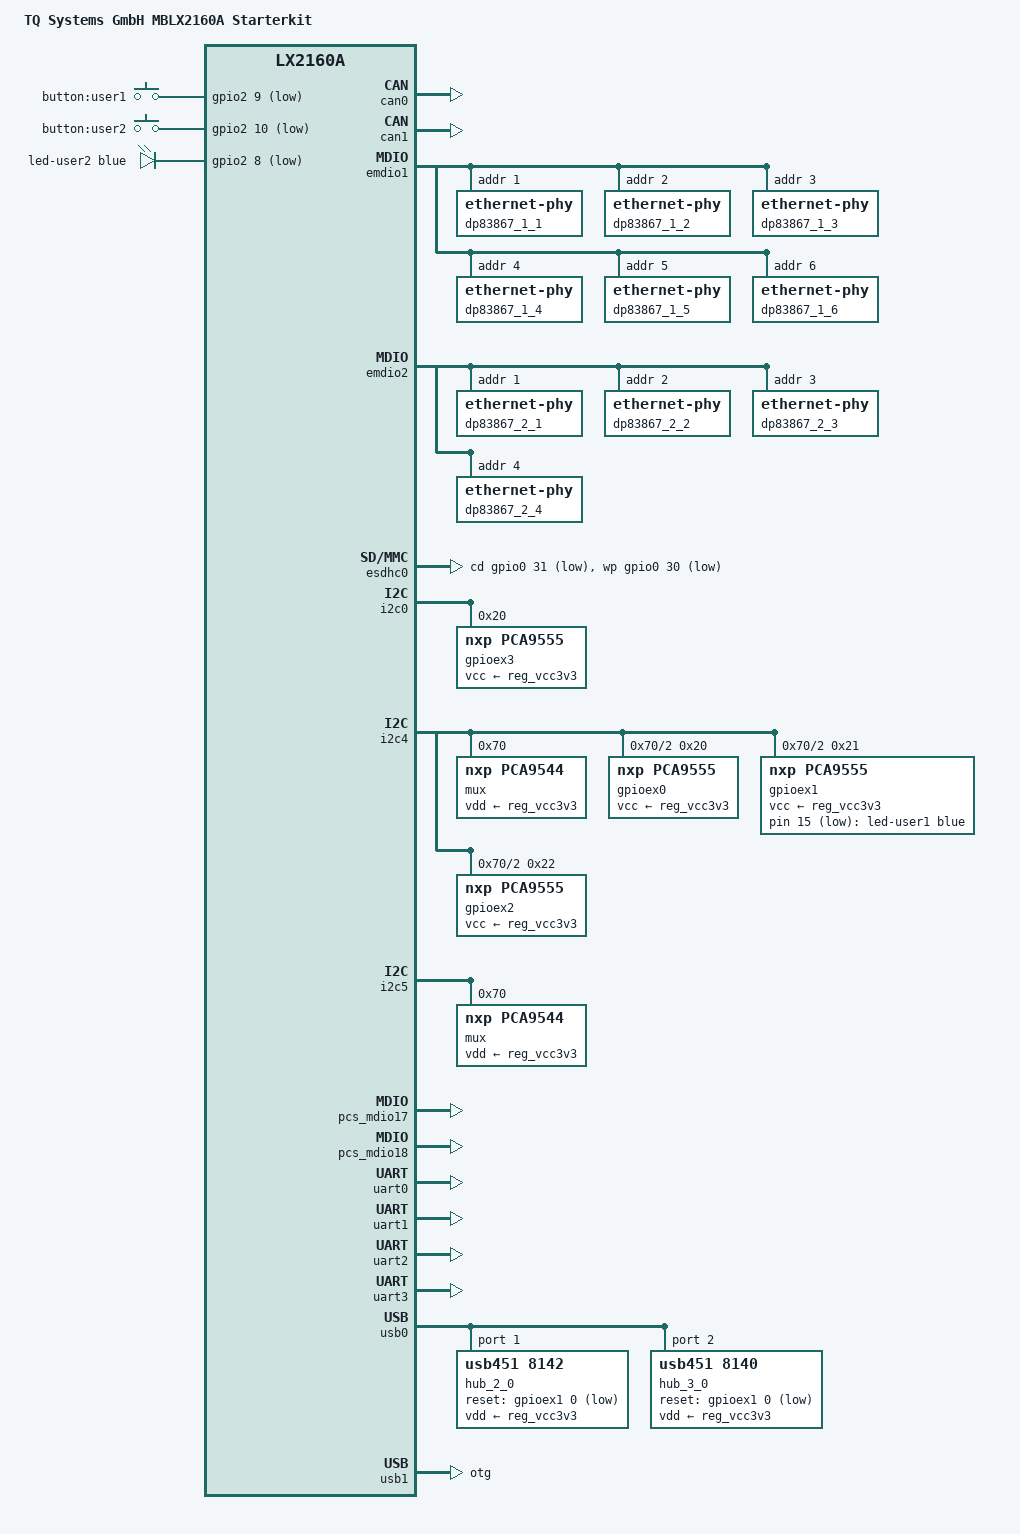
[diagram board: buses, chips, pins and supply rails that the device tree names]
// SPDX-License-Identifier: GPL-2.0-or-later OR MIT
/*
 * Copyright (c) 2020-2023 TQ-Systems GmbH <linux@ew.tq-group.com>,
 * D-82229 Seefeld, Germany.
 * Author: Gregor Herburger
 */

/dts-v1/;

#include <dt-bindings/input/input.h>
#include <dt-bindings/leds/common.h>
#include <dt-bindings/net/ti-dp83867.h>

#include "fsl-lx2160a-tqmlx2160a.dtsi"

/ {
	model = "TQ Systems GmbH MBLX2160A Starterkit";
	compatible = "tq,lx2160a-tqmlx2160a-mblx2160a", "tq,lx2160a-tqmlx2160a",
		     "fsl,lx2160a";

	aliases {
		mmc0 = &esdhc0;
		mmc1 = &esdhc1;
		serial0 = &uart0;
		serial1 = &uart1;
		serial2 = &uart2;
		serial3 = &uart3;
	};

	chosen {
		stdout-path = &uart0;
	};

	gpio-keys {
		compatible = "gpio-keys";

		button-user1 {
			label = "button:user1";
			gpios = <&gpio2 9 GPIO_ACTIVE_LOW>;
			linux,code = <KEY_F1>;
		};

		button-user2 {
			label = "button:user2";
			gpios = <&gpio2 10 GPIO_ACTIVE_LOW>;
			linux,code = <KEY_F2>;
		};
	};

	leds {
		compatible = "gpio-leds";

		led-user1 {
			gpios = <&gpioex1 15 GPIO_ACTIVE_LOW>;
			color = <LED_COLOR_ID_BLUE>;
			function = LED_FUNCTION_HEARTBEAT;
			function-enumerator = <0>;
			linux,default-trigger = "heartbeat";
		};

		led-user2 {
			gpios = <&gpio2 8 GPIO_ACTIVE_LOW>;
			color = <LED_COLOR_ID_BLUE>;
			function = LED_FUNCTION_HEARTBEAT;
			function-enumerator = <1>;
			linux,default-trigger = "heartbeat";
		};
	};

	sfp_xfi1: sfp-xfi1 {
		compatible = "sff,sfp";
		i2c-bus = <&xfi1_i2c>;
		mod-def0-gpios = <&gpioex2 2 GPIO_ACTIVE_LOW>;
		los-gpios = <&gpioex2 3 GPIO_ACTIVE_HIGH>;
		tx-fault-gpios = <&gpioex2 0 GPIO_ACTIVE_HIGH>;
		tx-disable-gpios = <&gpioex2 1 GPIO_ACTIVE_HIGH>;
		status = "disabled";
	};

	sfp_xfi2: sfp-xfi2 {
		compatible = "sff,sfp";
		i2c-bus = <&xfi2_i2c>;
		mod-def0-gpios = <&gpioex2 6 GPIO_ACTIVE_LOW>;
		los-gpios = <&gpioex2 7 GPIO_ACTIVE_HIGH>;
		tx-fault-gpios = <&gpioex2 4 GPIO_ACTIVE_HIGH>;
		tx-disable-gpios = <&gpioex2 5 GPIO_ACTIVE_HIGH>;
		status = "disabled";
	};
};

&can0 {
	status = "okay";
};

&can1 {
	status = "okay";
};

&dpmac17 {
	phy-handle = <&dp83867_2_3>;
	phy-connection-type = "rgmii-id";
};

&dpmac18 {
	phy-handle = <&dp83867_2_4>;
	phy-connection-type = "rgmii-id";
};

&emdio1 {
	status = "okay";

	dp83867_1_1: ethernet-phy@1 {
		reg = <1>;
		ti,clk-output-sel = <DP83867_CLK_O_SEL_OFF>;
	};

	dp83867_1_2: ethernet-phy@2 {
		reg = <2>;
		ti,clk-output-sel = <DP83867_CLK_O_SEL_OFF>;
	};

	dp83867_1_3: ethernet-phy@3 {
		reg = <3>;
		ti,clk-output-sel = <DP83867_CLK_O_SEL_OFF>;
	};

	dp83867_1_4: ethernet-phy@4 {
		reg = <4>;
		ti,clk-output-sel = <DP83867_CLK_O_SEL_OFF>;
	};

	dp83867_1_5: ethernet-phy@5 {
		reg = <5>;
		ti,clk-output-sel = <DP83867_CLK_O_SEL_OFF>;
	};

	dp83867_1_6: ethernet-phy@6 {
		reg = <6>;
		ti,clk-output-sel = <DP83867_CLK_O_SEL_OFF>;
	};
};

&emdio2 {
	status = "okay";

	dp83867_2_1: ethernet-phy@1 {
		reg = <1>;
		ti,clk-output-sel = <DP83867_CLK_O_SEL_OFF>;
	};

	dp83867_2_2: ethernet-phy@2 {
		reg = <2>;
		ti,clk-output-sel = <DP83867_CLK_O_SEL_OFF>;
	};

	dp83867_2_3: ethernet-phy@3 {
		reg = <3>;
		ti,rx-internal-delay = <DP83867_RGMIIDCTL_2_25_NS>;
		ti,tx-internal-delay = <DP83867_RGMIIDCTL_2_25_NS>;
		ti,clk-output-sel = <DP83867_CLK_O_SEL_OFF>;
	};

	dp83867_2_4: ethernet-phy@4 {
		reg = <4>;
		ti,rx-internal-delay = <DP83867_RGMIIDCTL_2_25_NS>;
		ti,tx-internal-delay = <DP83867_RGMIIDCTL_2_25_NS>;
		ti,clk-output-sel = <DP83867_CLK_O_SEL_OFF>;
	};
};

&esdhc0 {
	sd-uhs-sdr104;
	sd-uhs-sdr50;
	sd-uhs-sdr25;
	sd-uhs-sdr12;
	no-mmc;
	no-sdio;
	wp-gpios = <&gpio0 30 GPIO_ACTIVE_LOW>;
	cd-gpios = <&gpio0 31 GPIO_ACTIVE_LOW>;
	status = "okay";
};

&i2c0 {
	gpioex3: gpio@20 {
		compatible = "nxp,pca9555";
		reg = <0x20>;
		#gpio-cells = <2>;
		gpio-controller;
		vcc-supply = <&reg_vcc3v3>;
	};
};

&i2c4 {
	status = "okay";

	mux@70 {
		compatible = "nxp,pca9544";
		reg = <0x70>;
		#address-cells = <1>;
		#size-cells = <0>;
		vdd-supply = <&reg_vcc3v3>;

		i2c@0 {
			reg = <0>;
			#address-cells = <1>;
			#size-cells = <0>;
		};

		i2c@1 {
			reg = <1>;
			#address-cells = <1>;
			#size-cells = <0>;
		};

		i2c@2 {
			reg = <2>;
			#address-cells = <1>;
			#size-cells = <0>;

			gpioex0: gpio@20 {
				compatible = "nxp,pca9555";
				reg = <0x20>;
				#gpio-cells = <2>;
				gpio-controller;
				vcc-supply = <&reg_vcc3v3>;
			};

			gpioex1: gpio@21 {
				compatible = "nxp,pca9555";
				reg = <0x21>;
				#gpio-cells = <2>;
				gpio-controller;
				vcc-supply = <&reg_vcc3v3>;
			};

			gpioex2: gpio@22 {
				compatible = "nxp,pca9555";
				reg = <0x22>;
				#gpio-cells = <2>;
				gpio-controller;
				vcc-supply = <&reg_vcc3v3>;
			};
		};

		i2c@3 {
			reg = <3>;
			#address-cells = <1>;
			#size-cells = <0>;
		};
	};
};

&i2c5 {
	status = "okay";

	mux@70 {
		compatible = "nxp,pca9544";
		reg = <0x70>;
		#address-cells = <1>;
		#size-cells = <0>;
		vdd-supply = <&reg_vcc3v3>;

		i2c@0 {
			reg = <0>;
			#address-cells = <1>;
			#size-cells = <0>;
		};

		xfi1_i2c: i2c@1 {
			reg = <1>;
			#address-cells = <1>;
			#size-cells = <0>;
		};

		xfi2_i2c: i2c@2 {
			reg = <2>;
			#address-cells = <1>;
			#size-cells = <0>;
		};

		i2c@3 {
			reg = <3>;
			#address-cells = <1>;
			#size-cells = <0>;
		};
	};
};

&pcs_mdio17 {
	status = "okay";
};

&pcs_mdio18 {
	status = "okay";
};

&uart0 {
	status = "okay";
};

&uart1 {
	status = "okay";
};

&uart2 {
	status = "okay";
};

&uart3 {
	status = "okay";
};

&usb0 {
	#address-cells = <1>;
	#size-cells = <0>;
	status = "okay";

	hub_2_0: hub@1 {
		compatible = "usb451,8142";
		reg = <1>;
		peer-hub = <&hub_3_0>;
		reset-gpios = <&gpioex1 0 GPIO_ACTIVE_LOW>;
		vdd-supply = <&reg_vcc3v3>;
	};

	hub_3_0: hub@2 {
		compatible = "usb451,8140";
		reg = <2>;
		peer-hub = <&hub_2_0>;
		reset-gpios = <&gpioex1 0 GPIO_ACTIVE_LOW>;
		vdd-supply = <&reg_vcc3v3>;
	};
};

&usb1 {
	dr_mode = "otg";
	status = "okay";
};
